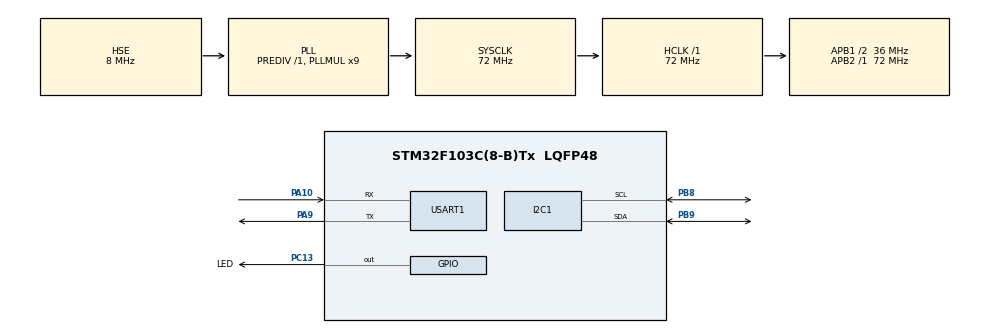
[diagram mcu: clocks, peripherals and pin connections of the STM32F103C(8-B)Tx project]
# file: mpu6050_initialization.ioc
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Mcu.Family=STM32F1
Mcu.Name=STM32F103C(8-B)Tx
Mcu.Package=LQFP48
NVIC.PriorityGroup=NVIC_PRIORITYGROUP_4
NVIC.TIM3_IRQn=true\:0\:0\:false\:false\:true\:true\:true
PA10.Mode=Asynchronous
PA10.Signal=USART1_RX
PA13.Mode=Serial_Wire
PA13.Signal=SYS_JTMS-SWDIO
PA14.Mode=Serial_Wire
PA14.Signal=SYS_JTCK-SWCLK
PA9.Mode=Asynchronous
PA9.Signal=USART1_TX
PB8.Mode=I2C
PB8.Signal=I2C1_SCL
PB9.Mode=I2C
PB9.Signal=I2C1_SDA
PC13-TAMPER-RTC.GPIO_Label=LED
PC13-TAMPER-RTC.Signal=GPIO_Output
PD0-OSC_IN.Mode=HSE-External-Oscillator
PD0-OSC_IN.Signal=RCC_OSC_IN
PD1-OSC_OUT.Mode=HSE-External-Oscillator
PD1-OSC_OUT.Signal=RCC_OSC_OUT
ProjectManager.HeapSize=0x200
ProjectManager.StackSize=0x400
ProjectManager.TargetToolchain=MDK-ARM V5.32
RCC.AHBFreq_Value=72000000
RCC.APB1CLKDivider=RCC_HCLK_DIV2
RCC.APB1Freq_Value=36000000
RCC.APB1TimFreq_Value=72000000
RCC.APB2Freq_Value=72000000
RCC.APB2TimFreq_Value=72000000
RCC.HCLKFreq_Value=72000000
RCC.PLLMUL=RCC_PLL_MUL9
RCC.PLLSourceVirtual=RCC_PLLSOURCE_HSE
RCC.SYSCLKFreq_VALUE=72000000
RCC.SYSCLKSource=RCC_SYSCLKSOURCE_PLLCLK
RCC.USBFreq_Value=72000000
TIM3.Period=99
TIM3.Prescaler=7199
USART1.VirtualMode=VM_ASYNC
VP_TIM3_VS_ClockSourceINT.Mode=Internal
board=custom

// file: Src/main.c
/* USER CODE BEGIN Header */
/**
  ******************************************************************************
  * @file           : main.c
  * @brief          : Main program body
  ******************************************************************************
  * @attention
  *
  * Copyright (c) 2023 STMicroelectronics.
  * All rights reserved.
  *
  * This software is licensed under terms that can be found in the LICENSE file
  * in the root directory of this software component.
  * If no LICENSE file comes with this software, it is provided AS-IS.
  *
  ******************************************************************************
  */
/* USER CODE END Header */
#include "main.h"
#include "i2c.h"
#include "tim.h"
#include "usart.h"
#include "gpio.h"

void SystemClock_Config(void);

/* USER CODE BEGIN 0 */
#include <stdio.h>
#include "simulink_mpu6050_model.h"
#include "rtwtypes.h"

int fputc(int ch, FILE *fp)
{
    while (!(USART1->SR & (1 << 7)));
    USART1->DR = ch;

    return ch;
}

/* Flags for taskOverrun */
static boolean_T OverrunFlags[1] = { false, };

/* Number of auto reload timer rotation computed */
static volatile uint32_t autoReloadTimerLoopVal_S = 1;

/* Remaining number of auto reload timer rotation to do */
volatile uint32_t remainAutoReloadTimerLoopVal_S = 1;

/* USER CODE END 0 */

int main(void)
{

  /* MCU Configuration--------------------------------------------------------*/

  /* Reset of all peripherals, Initializes the Flash interface and the Systick. */
  HAL_Init();

  /* Configure the system clock */
  SystemClock_Config();

  /* Initialize all configured peripherals */
  MX_GPIO_Init();
  MX_I2C1_Init();
  MX_USART1_UART_Init();
  MX_TIM3_Init();
  /* USER CODE BEGIN 2 */
  /* Use Systick arm timer and interrupt to tick step() functions of the Simulink model. */
  /* Fundamental sample time is set to: '0.001000000' s */
  if (SysTick_Config((uint32_t)(SystemCoreClock/1000.0))) {
    autoReloadTimerLoopVal_S = 1;
    do {
      autoReloadTimerLoopVal_S++;
    } while ((uint32_t)(SystemCoreClock/1000.0)/autoReloadTimerLoopVal_S >
             SysTick_LOAD_RELOAD_Msk);

    SysTick_Config((uint32_t)(SystemCoreClock/1000.0)/autoReloadTimerLoopVal_S);
  }

  /* Set number of loop to do. */
  remainAutoReloadTimerLoopVal_S = autoReloadTimerLoopVal_S;

  {
    int i;
    for (i = 0; i < 1; i++) {
      OverrunFlags[i] = false;
    }
  }

  /* Initialize model */
  simulink_mpu6050_model_initialize();
//	printf("%f", simulink_mpu6050_model_DW.LED_flash);

  /* USER CODE END 2 */

  /* Infinite loop */
  /* USER CODE BEGIN WHILE */
  /* Infinite loop */
  /* Real time from systickHandler */
  while (1) {
    /*Process tasks every solver time*/
//		printf("%f", simulink_mpu6050_model_DW.LED_flash);
		HAL_GPIO_TogglePin(GPIOC, GPIO_PIN_13);
    if (remainAutoReloadTimerLoopVal_S == 0) {
      remainAutoReloadTimerLoopVal_S = autoReloadTimerLoopVal_S;

      /* Check base rate for overrun */
      if (OverrunFlags[0]) {
        rtmSetErrorStatus(simulink_mpu6050_model_M, "Overrun");
      }

      OverrunFlags[0] = true;

      /* Step the model for base rate */
      simulink_mpu6050_model_step();

      /* Get model outputs here */

      /* Indicate task for base rate complete */
      OverrunFlags[0] = false;
    }
  }

    /* USER CODE END WHILE */

}

void SystemClock_Config(void)
{
  RCC_OscInitTypeDef RCC_OscInitStruct = {0};
  RCC_ClkInitTypeDef RCC_ClkInitStruct = {0};

  /** Initializes the RCC Oscillators according to the specified parameters
  * in the RCC_OscInitTypeDef structure.
  */
  RCC_OscInitStruct.OscillatorType = RCC_OSCILLATORTYPE_HSE;
  RCC_OscInitStruct.HSEState = RCC_HSE_ON;
  RCC_OscInitStruct.HSEPredivValue = RCC_HSE_PREDIV_DIV1;
  RCC_OscInitStruct.HSIState = RCC_HSI_ON;
  RCC_OscInitStruct.PLL.PLLState = RCC_PLL_ON;
  RCC_OscInitStruct.PLL.PLLSource = RCC_PLLSOURCE_HSE;
  RCC_OscInitStruct.PLL.PLLMUL = RCC_PLL_MUL9;
  if (HAL_RCC_OscConfig(&RCC_OscInitStruct) != HAL_OK)
  {
    Error_Handler();
  }
  /** Initializes the CPU, AHB and APB buses clocks
  */
  RCC_ClkInitStruct.ClockType = RCC_CLOCKTYPE_HCLK|RCC_CLOCKTYPE_SYSCLK
                              |RCC_CLOCKTYPE_PCLK1|RCC_CLOCKTYPE_PCLK2;
  RCC_ClkInitStruct.SYSCLKSource = RCC_SYSCLKSOURCE_PLLCLK;
  RCC_ClkInitStruct.AHBCLKDivider = RCC_SYSCLK_DIV1;
  RCC_ClkInitStruct.APB1CLKDivider = RCC_HCLK_DIV2;
  RCC_ClkInitStruct.APB2CLKDivider = RCC_HCLK_DIV1;

  if (HAL_RCC_ClockConfig(&RCC_ClkInitStruct, FLASH_LATENCY_2) != HAL_OK)
  {
    Error_Handler();
  }
}

void Error_Handler(void)
{
  __disable_irq();
  while (1)
  {
  }
}
